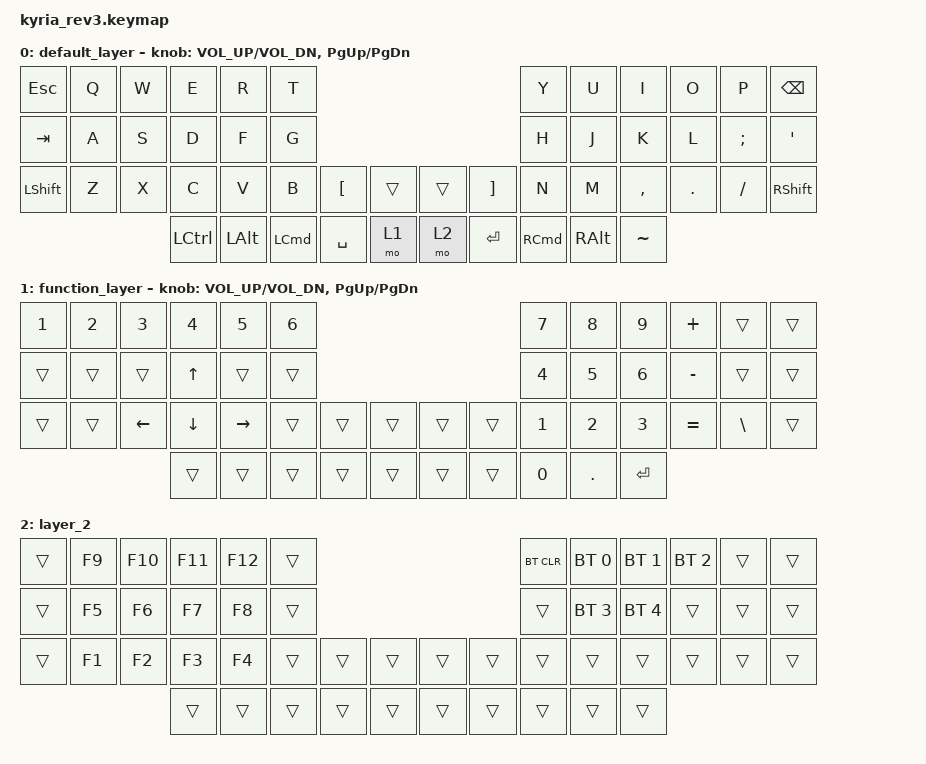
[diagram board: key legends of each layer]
/*
 * Copyright (c) 2023 The ZMK Contributors
 *
 * SPDX-License-Identifier: MIT
 */

#include <behaviors.dtsi>
#include <dt-bindings/zmk/bt.h>
#include <dt-bindings/zmk/keys.h>

/* Uncomment this block if using RGB
&led_strip {
    chain-length = <6>;
    // chain-length = <31>; // Uncomment if using both per-key and underglow LEDs
    // chain-length = <25>; // Uncomment if using only per-key LEDs.
};
 */

/ {
    keymap {
        compatible = "zmk,keymap";

        default_layer {
            // ---------------------------------------------------------------------------------------------------------------------------------
            // |  ESC  |  Q  |  W  |  E   |  R   |  T   |                                          |  Y   |  U    |  I    |  O   |   P   |   \  |
            // |  TAB  |  A  |  S  |  D   |  F   |  G   |                                          |  H   |  J    |  K    |  L   |   ;   |   '  |
            // | SHIFT |  Z  |  X  |  C   |  V   |  B   | L SHIFT | L SHIFT |  | LAYER 1 | L SHIFT |  N   |  M    |  ,    |  .   |   /   | CTRL |
            //                     | GUI  | DEL  | RET  |  SPACE  |   ESC   |  |   RET   |  SPACE  | TAB  | BSPC  | R-ALT |

            bindings = <
&kp ESC    &kp Q  &kp W  &kp E             &kp R     &kp T                                                                  &kp Y              &kp U          &kp I      &kp O    &kp P     &kp BACKSPACE
&kp TAB    &kp A  &kp S  &kp D             &kp F     &kp G                                                                  &kp H              &kp J          &kp K      &kp L    &kp SEMI  &kp SQT
&kp LSHFT  &kp Z  &kp X  &kp C             &kp V     &kp B             &kp LEFT_BRACKET  &trans  &trans  &kp RIGHT_BRACKET  &kp N              &kp M          &kp COMMA  &kp DOT  &kp FSLH  &kp RIGHT_SHIFT
                         &kp LEFT_CONTROL  &kp LALT  &kp LEFT_COMMAND  &kp SPACE         &mo 1   &mo 2   &kp RETURN         &kp RIGHT_COMMAND  &kp RIGHT_ALT  &kp TILDE
            >;

            sensor-bindings = <&inc_dec_kp C_VOL_UP C_VOL_DN &inc_dec_kp PG_UP PG_DN>;
        };

        function_layer {
            // ---------------------------------------------------------------------------------------------------------------------------------
            // |       |      |BT_CLR|BTSEL0|BTSEL1|BTSEL2|                                         |      |      |      |      |      |      |
            // |       |      |      |BTSEL3|BTSEL4|      |                                         |      |      |      |      |      |      |
            // |       |      |      |      |      |      |      |      |      |      |      |      |      |      |      |      |      |      |
            //                       |      |      |      |      |      |      |      |      |      |      |      |      |

            bindings = <
&kp NUMBER_1  &kp NUMBER_2  &kp NUMBER_3    &kp NUMBER_4    &kp NUMBER_5     &kp NUMBER_6                                  &kp NUMBER_7  &kp NUMBER_8  &kp NUMBER_9  &kp PLUS   &trans         &trans
&trans        &trans        &trans          &kp UP_ARROW    &trans           &trans                                        &kp NUMBER_4  &kp NUMBER_5  &kp NUMBER_6  &kp MINUS  &trans         &trans
&trans        &trans        &kp LEFT_ARROW  &kp DOWN_ARROW  &kp RIGHT_ARROW  &trans        &trans  &trans  &trans  &trans  &kp NUMBER_1  &kp NUMBER_2  &kp NUMBER_3  &kp EQUAL  &kp BACKSLASH  &trans
                                            &trans          &trans           &trans        &trans  &trans  &trans  &trans  &kp NUMBER_0  &kp DOT       &kp ENTER
            >;

            sensor-bindings = <&inc_dec_kp C_VOL_UP C_VOL_DN &inc_dec_kp PG_UP PG_DN>;
        };

        layer_2 {
            bindings = <
&trans  &kp F9  &kp F10  &kp F11  &kp F12  &trans                                  &bt BT_CLR  &bt BT_SEL 0  &bt BT_SEL 1  &bt BT_SEL 2  &trans  &trans
&trans  &kp F5  &kp F6   &kp F7   &kp F8   &trans                                  &trans      &bt BT_SEL 3  &bt BT_SEL 4  &trans        &trans  &trans
&trans  &kp F1  &kp F2   &kp F3   &kp F4   &trans  &trans  &trans  &trans  &trans  &trans      &trans        &trans        &trans        &trans  &trans
                         &trans   &trans   &trans  &trans  &trans  &trans  &trans  &trans      &trans        &trans
            >;
        };
    };
};
